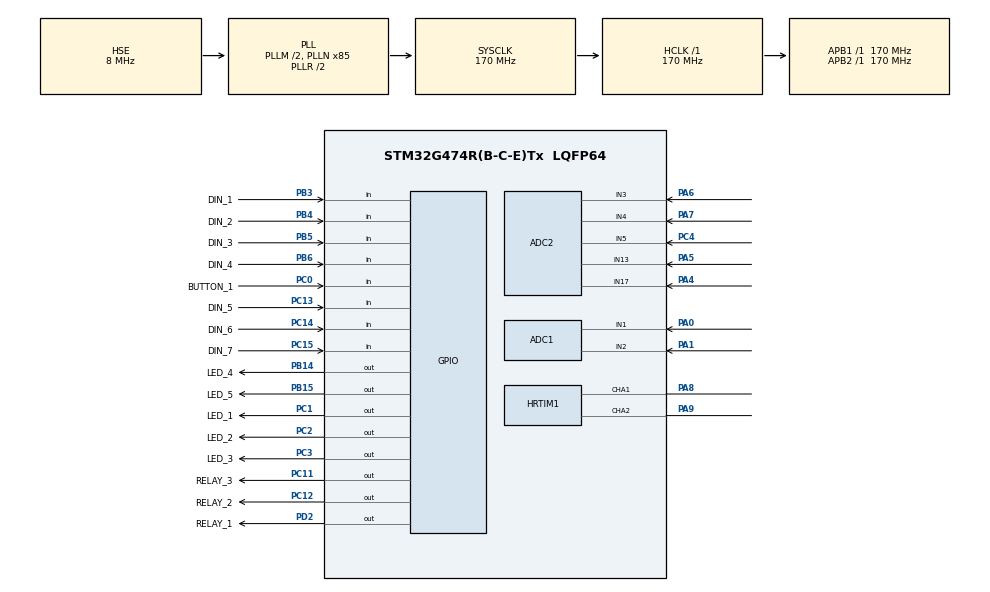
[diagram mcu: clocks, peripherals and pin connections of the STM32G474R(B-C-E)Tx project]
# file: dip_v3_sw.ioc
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ADC1.Channel-0\#ChannelRegularConversion=ADC_CHANNEL_1
ADC1.Channel-1\#ChannelRegularConversion=ADC_CHANNEL_2
ADC1.DMAContinuousRequests=ENABLE
ADC1.ExternalTrigConv=ADC_EXTERNALTRIG_HRTIM_TRG1
ADC1.NbrOfConversion=2
ADC1.NbrOfConversionFlag=1
ADC1.OffsetNumber-0\#ChannelRegularConversion=ADC_OFFSET_NONE
ADC1.OffsetNumber-1\#ChannelRegularConversion=ADC_OFFSET_NONE
ADC1.OversamplingMode=ENABLE
ADC1.Rank-0\#ChannelRegularConversion=1
ADC1.Rank-1\#ChannelRegularConversion=2
ADC1.Ratio=ADC_OVERSAMPLING_RATIO_256
ADC1.RightBitShift=ADC_RIGHTBITSHIFT_8
ADC1.SamplingTime-0\#ChannelRegularConversion=ADC_SAMPLETIME_640CYCLES_5
ADC1.SamplingTime-1\#ChannelRegularConversion=ADC_SAMPLETIME_640CYCLES_5
ADC1.master=1
ADC2.Channel-0\#ChannelRegularConversion=ADC_CHANNEL_17
ADC2.Channel-1\#ChannelRegularConversion=ADC_CHANNEL_13
ADC2.Channel-2\#ChannelRegularConversion=ADC_CHANNEL_3
ADC2.Channel-3\#ChannelRegularConversion=ADC_CHANNEL_4
ADC2.Channel-4\#ChannelRegularConversion=ADC_CHANNEL_5
ADC2.DMAContinuousRequests=ENABLE
ADC2.ExternalTrigConv=ADC_EXTERNALTRIG_HRTIM_TRG1
ADC2.NbrOfConversion=5
ADC2.NbrOfConversionFlag=1
ADC2.OffsetNumber-0\#ChannelRegularConversion=ADC_OFFSET_NONE
ADC2.OffsetNumber-1\#ChannelRegularConversion=ADC_OFFSET_NONE
ADC2.OffsetNumber-2\#ChannelRegularConversion=ADC_OFFSET_NONE
ADC2.OffsetNumber-3\#ChannelRegularConversion=ADC_OFFSET_NONE
ADC2.OffsetNumber-4\#ChannelRegularConversion=ADC_OFFSET_NONE
ADC2.OversamplingMode=ENABLE
ADC2.Rank-0\#ChannelRegularConversion=1
ADC2.Rank-1\#ChannelRegularConversion=2
ADC2.Rank-2\#ChannelRegularConversion=3
ADC2.Rank-3\#ChannelRegularConversion=4
ADC2.Rank-4\#ChannelRegularConversion=5
ADC2.Ratio=ADC_OVERSAMPLING_RATIO_256
ADC2.RightBitShift=ADC_RIGHTBITSHIFT_8
ADC2.SamplingTime-0\#ChannelRegularConversion=ADC_SAMPLETIME_640CYCLES_5
ADC2.SamplingTime-1\#ChannelRegularConversion=ADC_SAMPLETIME_640CYCLES_5
ADC2.SamplingTime-2\#ChannelRegularConversion=ADC_SAMPLETIME_640CYCLES_5
ADC2.SamplingTime-3\#ChannelRegularConversion=ADC_SAMPLETIME_640CYCLES_5
ADC2.SamplingTime-4\#ChannelRegularConversion=ADC_SAMPLETIME_640CYCLES_5
Dma.ADC1.0.Direction=DMA_PERIPH_TO_MEMORY
Dma.ADC1.0.EventEnable=DISABLE
Dma.ADC1.0.Instance=DMA1_Channel1
Dma.ADC1.0.MemDataAlignment=DMA_MDATAALIGN_HALFWORD
Dma.ADC1.0.MemInc=DMA_MINC_ENABLE
Dma.ADC1.0.Mode=DMA_CIRCULAR
Dma.ADC1.0.PeriphDataAlignment=DMA_PDATAALIGN_HALFWORD
Dma.ADC1.0.PeriphInc=DMA_PINC_DISABLE
Dma.ADC1.0.Polarity=HAL_DMAMUX_REQ_GEN_RISING
Dma.ADC1.0.Priority=DMA_PRIORITY_LOW
Dma.ADC1.0.RequestNumber=1
Dma.ADC1.0.SignalID=NONE
Dma.ADC1.0.SyncEnable=DISABLE
Dma.ADC1.0.SyncPolarity=HAL_DMAMUX_SYNC_NO_EVENT
Dma.ADC1.0.SyncRequestNumber=1
Dma.ADC1.0.SyncSignalID=NONE
Dma.ADC2.1.Direction=DMA_PERIPH_TO_MEMORY
Dma.ADC2.1.EventEnable=DISABLE
Dma.ADC2.1.Instance=DMA1_Channel2
Dma.ADC2.1.MemDataAlignment=DMA_MDATAALIGN_HALFWORD
Dma.ADC2.1.MemInc=DMA_MINC_ENABLE
Dma.ADC2.1.Mode=DMA_CIRCULAR
Dma.ADC2.1.PeriphDataAlignment=DMA_PDATAALIGN_HALFWORD
Dma.ADC2.1.PeriphInc=DMA_PINC_DISABLE
Dma.ADC2.1.Polarity=HAL_DMAMUX_REQ_GEN_RISING
Dma.ADC2.1.Priority=DMA_PRIORITY_LOW
Dma.ADC2.1.RequestNumber=1
Dma.ADC2.1.SignalID=NONE
Dma.ADC2.1.SyncEnable=DISABLE
Dma.ADC2.1.SyncPolarity=HAL_DMAMUX_SYNC_NO_EVENT
Dma.ADC2.1.SyncRequestNumber=1
Dma.ADC2.1.SyncSignalID=NONE
Dma.HRTIM1_A.2.Direction=DMA_PERIPH_TO_MEMORY
Dma.HRTIM1_A.2.EventEnable=DISABLE
Dma.HRTIM1_A.2.Instance=DMA1_Channel3
Dma.HRTIM1_A.2.MemDataAlignment=DMA_MDATAALIGN_HALFWORD
Dma.HRTIM1_A.2.MemInc=DMA_MINC_ENABLE
Dma.HRTIM1_A.2.Mode=DMA_CIRCULAR
Dma.HRTIM1_A.2.PeriphDataAlignment=DMA_PDATAALIGN_HALFWORD
Dma.HRTIM1_A.2.PeriphInc=DMA_PINC_DISABLE
Dma.HRTIM1_A.2.Polarity=HAL_DMAMUX_REQ_GEN_RISING
Dma.HRTIM1_A.2.Priority=DMA_PRIORITY_LOW
Dma.HRTIM1_A.2.RequestNumber=1
Dma.HRTIM1_A.2.SignalID=NONE
Dma.HRTIM1_A.2.SyncEnable=DISABLE
Dma.HRTIM1_A.2.SyncPolarity=HAL_DMAMUX_SYNC_NO_EVENT
Dma.HRTIM1_A.2.SyncRequestNumber=1
Dma.HRTIM1_A.2.SyncSignalID=NONE
Dma.Request0=ADC1
Dma.Request1=ADC2
Dma.Request2=HRTIM1_A
HRTIM1.ADCTrigger1_Source1=HRTIM_ADCTRIGGEREVENT13_TIMERA_PERIOD
HRTIM1.ADCTrigger_Id1=HRTIM_ADCTRIGGER_1
HRTIM1.ADCTrigger_Id3=__NULL
HRTIM1.CompareUnit1-Output_TA1TA2=HRTIM_COMPAREUNIT_1
HRTIM1.CompareUnit2-Output_TA1TA2=HRTIM_COMPAREUNIT_2
HRTIM1.CompareUnit3-Output_TA1TA2=__NULL
HRTIM1.CompareValue1-Output_TA1TA2=0
HRTIM1.CompareValue2-Output_TA1TA2=MAX_PWM_DUTY_CYCLE
HRTIM1.DMADstAddress-Output_TA1TA2=(uint32_t)&(HRTIM1->sTimerxRegs[HRTIM_TIMERINDEX_TIMER_A].CMP1xR)
HRTIM1.DMARequests1-Output_TA1TA2=HRTIM_TIM_DMA_REP
HRTIM1.DMASize-Output_TA1TA2=1
HRTIM1.DMASrcAddress-Output_TA1TA2=(uint32_t)&HRTIM_DMA_Buffer[0]
HRTIM1.Enable=HRTIM_BURSTMODECTL_DISABLED
HRTIM1.GreaterCMP1_TA=HRTIM_TIMERGTCMP1_GREATER
HRTIM1.InterruptRequests1-Output_TA1TA2=HRTIM_TIM_IT_REP
HRTIM1.NumberADCTriggerSource1=1
HRTIM1.NumberDMARequests_TA=1
HRTIM1.NumberInterruptRequests-Output_TA1TA2=1
HRTIM1.NumberResetSource1-Output_TA1TA2=2
HRTIM1.NumberResetSource2_TA=2
HRTIM1.NumberResetTrigger-Output_TA1TA2=0
HRTIM1.NumberSetSource1-Output_TA1TA2=1
HRTIM1.NumberSetSource2_TA=1
HRTIM1.NumberUpdateTrigger-Output_TA1TA2=0
HRTIM1.Periode_TA=HRTIMA_PERIOD
HRTIM1.PreloadEnable-Output_TA1TA2=HRTIM_PRELOAD_ENABLED
HRTIM1.PrescalerRatio_TA=HRTIM_PRESCALERRATIO_DIV4
HRTIM1.PushPull-Output_TA1TA2=HRTIM_TIMPUSHPULLMODE_ENABLED
HRTIM1.ReSyncUpdate-Output_TA1TA2=HRTIM_TIMERESYNC_UPDATE_UNCONDITIONAL
HRTIM1.RepetitionUpdate-Output_TA1TA2=HRTIM_UPDATEONREPETITION_ENABLED
HRTIM1.ResetOutput1_Source1-Output_TA1TA2=HRTIM_OUTPUTRESET_TIMCMP1
HRTIM1.ResetOutput1_Source2-Output_TA1TA2=HRTIM_OUTPUTRESET_TIMCMP2
HRTIM1.ResetOutput2_Source1-Output_TA1TA2=HRTIM_OUTPUTRESET_TIMCMP1
HRTIM1.ResetOutput2_Source2-Output_TA1TA2=HRTIM_OUTPUTRESET_TIMCMP2
HRTIM1.ResetUpdate-Output_TA1TA2=HRTIM_TIMUPDATEONRESET_DISABLED
HRTIM1.SetOutput1_Source1-Output_TA1TA2=HRTIM_OUTPUTSET_TIMPER
HRTIM1.SetOutput2_Source1-Output_TA1TA2=HRTIM_OUTPUTSET_TIMPER
HRTIM1.UpdateGating-Output_TA1TA2=HRTIM_UPDATEGATING_INDEPENDENT
HRTIM1.postscaler1=0
Mcu.Family=STM32G4
Mcu.Name=STM32G474R(B-C-E)Tx
Mcu.Package=LQFP64
Mcu.UserConstants=HRTIM_INPUT_CLOCK,170000000;HRTIMA_PWM_FREQ,10000;MAX_PWM_DUTY_CYCLE,(HRTIMA_PERIOD/100)*70;HRTIMA_PERIOD,((uint16_t)(((uint64_t)HRTIM_INPUT_CLOCK/8)/HRTIMA_PWM_FREQ))
NVIC.ADC1_2_IRQn=true\:0\:0\:false\:false\:true\:true\:true\:true
NVIC.DMA1_Channel1_IRQn=true\:0\:0\:false\:false\:true\:false\:true\:true
NVIC.DMA1_Channel2_IRQn=true\:0\:0\:false\:false\:true\:false\:true\:true
NVIC.DMA1_Channel3_IRQn=true\:0\:0\:false\:false\:true\:false\:true\:true
NVIC.HRTIM1_Master_IRQn=true\:0\:0\:false\:false\:true\:true\:true\:true
NVIC.HRTIM1_TIMA_IRQn=true\:0\:0\:false\:false\:true\:true\:true\:true
NVIC.PriorityGroup=NVIC_PRIORITYGROUP_4
PA0.Mode=IN1-Single-Ended
PA0.Signal=ADC1_IN1
PA1.Mode=IN2-Single-Ended
PA1.Signal=ADC1_IN2
PA13.Mode=Serial_Wire
PA13.Signal=SYS_JTMS-SWDIO
PA14.Mode=Serial_Wire
PA14.Signal=SYS_JTCK-SWCLK
PA4.Mode=IN17-Single-Ended
PA4.Signal=ADC2_IN17
PA5.Mode=IN13-Single-Ended
PA5.Signal=ADC2_IN13
PA6.Mode=IN3-Single-Ended
PA6.Signal=ADC2_IN3
PA7.Mode=IN4-Single-Ended
PA7.Signal=ADC2_IN4
PA8.Mode=Output_TA1TA2
PA8.Signal=HRTIM1_CHA1
PA9.Mode=Output_TA1TA2
PA9.Signal=HRTIM1_CHA2
PB14.GPIO_Label=LED_4
PB14.Signal=GPIO_Output
PB15.GPIO_Label=LED_5
PB15.Signal=GPIO_Output
PB3.GPIO_Label=DIN_1
PB3.Signal=GPIO_Input
PB4.GPIO_Label=DIN_2
PB4.Signal=GPIO_Input
PB5.GPIO_Label=DIN_3
PB5.Signal=GPIO_Input
PB6.GPIO_Label=DIN_4
PB6.Signal=GPIO_Input
PC0.GPIO_Label=BUTTON_1
PC0.Signal=GPIO_Input
PC1.GPIO_Label=LED_1
PC1.Signal=GPIO_Output
PC11.GPIO_Label=RELAY_3
PC11.Signal=GPIO_Output
PC12.GPIO_Label=RELAY_2
PC12.Signal=GPIO_Output
PC13.GPIO_Label=DIN_5
PC13.Signal=GPIO_Input
PC14-OSC32_IN.GPIO_Label=DIN_6
PC14-OSC32_IN.Signal=GPIO_Input
PC15-OSC32_OUT.GPIO_Label=DIN_7
PC15-OSC32_OUT.Signal=GPIO_Input
PC2.GPIO_Label=LED_2
PC2.Signal=GPIO_Output
PC3.GPIO_Label=LED_3
PC3.Signal=GPIO_Output
PC4.Mode=IN5-Single-Ended
PC4.Signal=ADC2_IN5
PD2.GPIO_Label=RELAY_1
PD2.Signal=GPIO_Output
PF0-OSC_IN.Mode=HSE-External-Oscillator
PF0-OSC_IN.Signal=RCC_OSC_IN
PF1-OSC_OUT.Mode=HSE-External-Oscillator
PF1-OSC_OUT.Signal=RCC_OSC_OUT
ProjectManager.HeapSize=0x200
ProjectManager.StackSize=0x400
ProjectManager.TargetToolchain=STM32CubeIDE
RCC.ADC12Freq_Value=170000000
RCC.ADC345Freq_Value=170000000
RCC.AHBFreq_Value=170000000
RCC.APB1Freq_Value=170000000
RCC.APB1TimFreq_Value=170000000
RCC.APB2Freq_Value=170000000
RCC.APB2TimFreq_Value=170000000
RCC.CortexFreq_Value=170000000
RCC.EXTERNAL_CLOCK_VALUE=12288000
RCC.HCLKFreq_Value=170000000
RCC.HSE_VALUE=8000000
RCC.HSI48_VALUE=48000000
RCC.HSI_VALUE=16000000
RCC.LSE_VALUE=32768
RCC.PLLM=RCC_PLLM_DIV2
RCC.PLLN=85
RCC.PLLSourceVirtual=RCC_PLLSOURCE_HSE
RCC.SYSCLKFreq_VALUE=170000000
RCC.SYSCLKSource=RCC_SYSCLKSOURCE_PLLCLK
RCC.USBFreq_Value=170000000
RCC.VCOOutputFreq_Value=340000000
board=custom

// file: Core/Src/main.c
/* USER CODE BEGIN Header */
/**
  ******************************************************************************
  * @file           : main.c
  * @brief          : Main program body
  ******************************************************************************
  * @attention
  *
  * Copyright (c) 2023 STMicroelectronics.
  * All rights reserved.
  *
  * This software is licensed under terms that can be found in the LICENSE file
  * in the root directory of this software component.
  * If no LICENSE file comes with this software, it is provided AS-IS.
  *
  ******************************************************************************
  */
/* USER CODE END Header */
#include "main.h"
#include "adc.h"
#include "dma.h"
#include "hrtim.h"
#include "gpio.h"

/* USER CODE BEGIN Includes */

#include "pid.h"
#include "ntc.h"
#include "din.h"
#include "df.h"
#include "leds.h"
#include "relays.h"

/* USER CODE END Includes */

/* USER CODE BEGIN PTD */

PID_TypeDef uPID, iPID;

/* USER CODE END PTD */

/* USER CODE BEGIN PD */

#define ADC1_BUF_LEN 2
#define ADC2_BUF_LEN 5

/* USER CODE END PD */

/* USER CODE BEGIN PV */

uint16_t HRTIM_DMA_Buffer[1];
uint16_t ADC1_DMA_Buffer[ADC1_BUF_LEN];
uint16_t ADC2_DMA_Buffer[ADC2_BUF_LEN];
uint32_t pwm_duty_cycle;
uint32_t pwm_soft_start;
uint8_t  pwm_active;
uint8_t  power;
double u_measurement,  i_measurement;
double u_setpoint,     i_setpoint;
double u_pid_output,   i_pid_output;
double dc_link,        vin_voltage;
double output_voltage, output_current;
float temperature;

/* USER CODE END PV */

void SystemClock_Config(void);

/* USER CODE BEGIN 0 */

double dmap(double x, double in_min, double in_max, double out_min, double out_max) {
  return (x - in_min) * (out_max - out_min) / (in_max - in_min) + out_min;
}
void HAL_ADC_ConvCpltCallback(ADC_HandleTypeDef* hadc)
{
	if (hadc == &hadc1) {
		if (pwm_active) {
			// Get new ADC value
			u_measurement = (double)ADC1_DMA_Buffer[0]; // FeedBack Voltage
			i_measurement = (double)ADC1_DMA_Buffer[1]; // FeedBack Current
			u_setpoint    = dmap((double)ADC2_DMA_Buffer[0], 4095.0, 0.0, 1241.0, 3239.0); // Potentiometer Voltage
			i_setpoint    = dmap((double)ADC2_DMA_Buffer[1], 4095.0, 0.0, 1241.0, 3239.0); // Potentiometer Current
			// PID calculation
			PID_Compute(&uPID);
			PID_Compute(&iPID);
			// Soft start for first time
			pwm_duty_cycle = pwm_soft_start;
			if (pwm_soft_start < MAX_PWM_DUTY_CYCLE)
				pwm_soft_start += 5;
			// CV or CC Mode
			if (pwm_duty_cycle > u_pid_output)
				pwm_duty_cycle = u_pid_output;
			if (pwm_duty_cycle > i_pid_output)
				pwm_duty_cycle = i_pid_output;
			// Set PWM duty cycle with DMA Buffer
			HRTIM_DMA_Buffer[0] = pwm_duty_cycle;
		} else {
			pwm_soft_start = 0;
			HRTIM_DMA_Buffer[0] = 0;
		}
	} else if (hadc == &hadc2) {
		HAL_GPIO_TogglePin(LED_1_GPIO_Port, LED_1_Pin);
	}
}
/* USER CODE END 0 */

int main(void)
{

  /* MCU Configuration--------------------------------------------------------*/

  /* Reset of all peripherals, Initializes the Flash interface and the Systick. */
  HAL_Init();

  /* Configure the system clock */
  SystemClock_Config();

  /* Initialize all configured peripherals */
  MX_GPIO_Init();
  MX_DMA_Init();
  MX_HRTIM1_Init();
  MX_ADC1_Init();
  MX_ADC2_Init();
  /* USER CODE BEGIN 2 */

  // PID controller settings
  PID(&uPID, &u_measurement, &u_pid_output, &u_setpoint, 0.2,  0.3,  0.0, _PID_P_ON_E, _PID_CD_DIRECT);
  PID(&iPID, &i_measurement, &i_pid_output, &i_setpoint, 0.02, 0.03, 0.0, _PID_P_ON_E, _PID_CD_DIRECT);
  PID_SetMode(&uPID, _PID_MODE_AUTOMATIC);
  PID_SetMode(&iPID, _PID_MODE_AUTOMATIC);
  PID_SetSampleTime(&uPID, 500);
  PID_SetSampleTime(&iPID, 500);
  PID_SetOutputLimits(&uPID, 0, (double)MAX_PWM_DUTY_CYCLE);
  PID_SetOutputLimits(&iPID, 0, (double)MAX_PWM_DUTY_CYCLE);

  // Start HRTIM with DMA
  HAL_HRTIM_WaveformOutputStart(&hhrtim1, HRTIM_OUTPUT_TA1 + HRTIM_OUTPUT_TA2);
  HAL_HRTIM_WaveformCountStart_DMA(&hhrtim1, HRTIM_TIMERID_TIMER_A);
  // Start ADC with DMA
  HAL_ADC_Start_DMA(&hadc1, (uint32_t *)ADC1_DMA_Buffer, ADC1_BUF_LEN);
  HAL_ADC_Start_DMA(&hadc2, (uint32_t *)ADC2_DMA_Buffer, ADC2_BUF_LEN);

  HAL_Delay(1000);

  /* USER CODE END 2 */

  /* Infinite loop */
  while (1)
  {

    /* USER CODE BEGIN 3 */

	// Get and calculation new ADC value
	output_voltage = dmap((double)ADC1_DMA_Buffer[0], 0.0, 4095.0, 0.0, 152.0);
	output_current = dmap((double)ADC1_DMA_Buffer[1], 0.0, 4095.0, 0.0, 66.0);
	dc_link        = dmap((double)ADC2_DMA_Buffer[2], 0.0, 4095.0, 0.0, 1716.0);
	vin_voltage    = dmap((double)ADC2_DMA_Buffer[4], 0.0, 4095.0, 0.0, 36.0);
	temperature    = ntc_convertToC((float)ADC2_DMA_Buffer[3]);

	/* ######################################## */
	if (df_isSet(0, DIN_DON())) { // on
		power = 1;
	}
	if (df_isSet(1, DIN_DOFF())) { // off
		power = 0;
	}
	/* ######################################## */
	if (df_isSet(2, DIN_LON())) { // light
		if (output_voltage > 50)
			RELAY_NIG(1);
		else if (output_voltage < 40)
			RELAY_NIG(0);
	} else {
		RELAY_NIG(0);
	}
	/* ######################################## */
	if (df_isSet(3, DIN_OEN())) { // Ruxsat
		if (power)
			RELAY_CON(1);
		else
			RELAY_CON(0);
	} else {
		power = 0;
		RELAY_CON(0);
	}
	/* ######################################## */
	while (df_isSet(4, DIN_USE_BUTTON())) {
		RELAY_NIG(0);
		RELAY_CON(0);
		RELAY_ERO(0);
		power = 0;
		pwm_active = 1;
	}
	/* ######################################## */
	if (power) {
		if (dc_link > 500.0)
			pwm_active = 1;
		else if (dc_link < 450)
			pwm_active = 0;
	} else {
		if (dc_link > 150.0)
			pwm_active = 1;
		else if (dc_link < 100)
			pwm_active = 0;
	}
	/* ######################################## */
	if (temperature > 50.0)
		LED_TMP(1);
	else
		LED_TMP(0);
	/* ######################################## */
	if (dc_link > 50.0)
		LED_HV(1);
	else
		LED_HV(0);
	/* ######################################## */
  }
  /* USER CODE END 3 */
}

void SystemClock_Config(void)
{
  RCC_OscInitTypeDef RCC_OscInitStruct = {0};
  RCC_ClkInitTypeDef RCC_ClkInitStruct = {0};

  /** Configure the main internal regulator output voltage
  */
  HAL_PWREx_ControlVoltageScaling(PWR_REGULATOR_VOLTAGE_SCALE1_BOOST);

  /** Initializes the RCC Oscillators according to the specified parameters
  * in the RCC_OscInitTypeDef structure.
  */
  RCC_OscInitStruct.OscillatorType = RCC_OSCILLATORTYPE_HSE;
  RCC_OscInitStruct.HSEState = RCC_HSE_ON;
  RCC_OscInitStruct.PLL.PLLState = RCC_PLL_ON;
  RCC_OscInitStruct.PLL.PLLSource = RCC_PLLSOURCE_HSE;
  RCC_OscInitStruct.PLL.PLLM = RCC_PLLM_DIV2;
  RCC_OscInitStruct.PLL.PLLN = 85;
  RCC_OscInitStruct.PLL.PLLP = RCC_PLLP_DIV2;
  RCC_OscInitStruct.PLL.PLLQ = RCC_PLLQ_DIV2;
  RCC_OscInitStruct.PLL.PLLR = RCC_PLLR_DIV2;
  if (HAL_RCC_OscConfig(&RCC_OscInitStruct) != HAL_OK)
  {
    Error_Handler();
  }

  /** Initializes the CPU, AHB and APB buses clocks
  */
  RCC_ClkInitStruct.ClockType = RCC_CLOCKTYPE_HCLK|RCC_CLOCKTYPE_SYSCLK
                              |RCC_CLOCKTYPE_PCLK1|RCC_CLOCKTYPE_PCLK2;
  RCC_ClkInitStruct.SYSCLKSource = RCC_SYSCLKSOURCE_PLLCLK;
  RCC_ClkInitStruct.AHBCLKDivider = RCC_SYSCLK_DIV1;
  RCC_ClkInitStruct.APB1CLKDivider = RCC_HCLK_DIV1;
  RCC_ClkInitStruct.APB2CLKDivider = RCC_HCLK_DIV1;

  if (HAL_RCC_ClockConfig(&RCC_ClkInitStruct, FLASH_LATENCY_4) != HAL_OK)
  {
    Error_Handler();
  }
}

void Error_Handler(void)
{
  __disable_irq();
  while (1)
  {
  }
}
